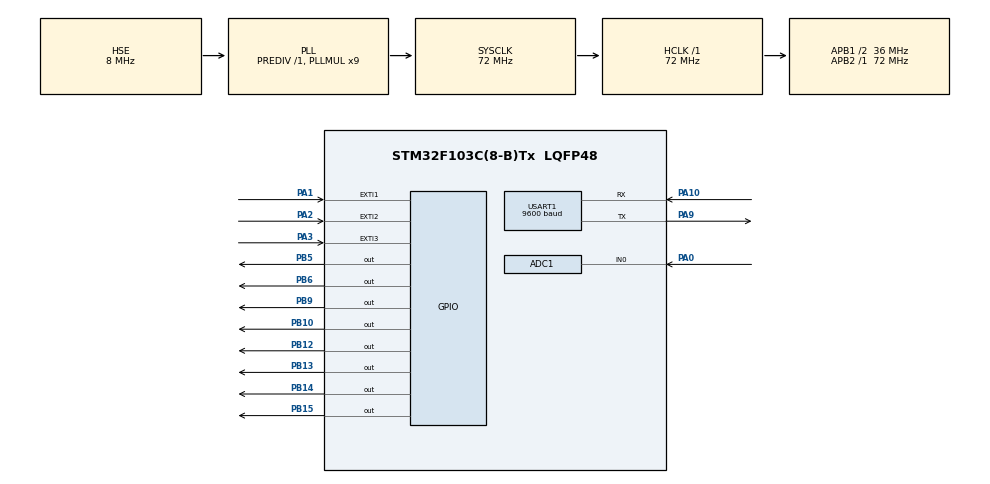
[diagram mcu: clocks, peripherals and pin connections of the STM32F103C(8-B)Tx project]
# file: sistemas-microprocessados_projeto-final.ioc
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ADC1.Channel-0\#ChannelRegularConversion=ADC_CHANNEL_0
ADC1.NbrOfConversionFlag=1
ADC1.Rank-0\#ChannelRegularConversion=1
ADC1.SamplingTime-0\#ChannelRegularConversion=ADC_SAMPLETIME_1CYCLE_5
ADC1.master=1
Mcu.Family=STM32F1
Mcu.Name=STM32F103C(8-B)Tx
Mcu.Package=LQFP48
NVIC.ADC1_2_IRQn=true\:0\:0\:false\:false\:true\:true\:true
NVIC.EXTI1_IRQn=true\:0\:0\:false\:true\:true\:1\:true\:true
NVIC.EXTI2_IRQn=true\:0\:0\:false\:true\:true\:2\:true\:true
NVIC.EXTI3_IRQn=true\:0\:0\:false\:true\:true\:3\:true\:true
NVIC.PriorityGroup=NVIC_PRIORITYGROUP_4
NVIC.USART1_IRQn=true\:0\:0\:false\:true\:true\:4\:true\:true
PA0-WKUP.Signal=ADCx_IN0
PA1.GPIO_ModeDefaultEXTI=GPIO_MODE_IT_FALLING
PA1.Signal=GPXTI1
PA10.Mode=Asynchronous
PA10.Signal=USART1_RX
PA13.Mode=Serial_Wire
PA13.Signal=SYS_JTMS-SWDIO
PA14.Mode=Serial_Wire
PA14.Signal=SYS_JTCK-SWCLK
PA2.GPIO_ModeDefaultEXTI=GPIO_MODE_IT_FALLING
PA2.Signal=GPXTI2
PA3.GPIO_ModeDefaultEXTI=GPIO_MODE_IT_FALLING
PA3.Signal=GPXTI3
PA9.Mode=Asynchronous
PA9.Signal=USART1_TX
PB10.Signal=GPIO_Output
PB12.Signal=GPIO_Output
PB13.Signal=GPIO_Output
PB14.Signal=GPIO_Output
PB15.Signal=GPIO_Output
PB5.Signal=GPIO_Output
PB6.Signal=GPIO_Output
PB9.Signal=GPIO_Output
PD0-OSC_IN.Mode=HSE-External-Oscillator
PD0-OSC_IN.Signal=RCC_OSC_IN
PD1-OSC_OUT.Mode=HSE-External-Oscillator
PD1-OSC_OUT.Signal=RCC_OSC_OUT
ProjectManager.HeapSize=0x200
ProjectManager.StackSize=0x400
ProjectManager.TargetToolchain=STM32CubeIDE
RCC.ADCPresc=RCC_ADCPCLK2_DIV6
RCC.AHBFreq_Value=72000000
RCC.APB1CLKDivider=RCC_HCLK_DIV2
RCC.APB1Freq_Value=36000000
RCC.APB1TimFreq_Value=72000000
RCC.APB2Freq_Value=72000000
RCC.APB2TimFreq_Value=72000000
RCC.HCLKFreq_Value=72000000
RCC.PLLMUL=RCC_PLL_MUL9
RCC.PLLSourceVirtual=RCC_PLLSOURCE_HSE
RCC.SYSCLKFreq_VALUE=72000000
RCC.SYSCLKSource=RCC_SYSCLKSOURCE_PLLCLK
RCC.USBFreq_Value=72000000
SH.ADCx_IN0.0=ADC1_IN0,IN0
USART1.BaudRate=9600
USART1.VirtualMode=VM_ASYNC
board=custom

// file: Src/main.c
/* USER CODE BEGIN Header */
/**
 ******************************************************************************
 * @file           : main.c
 * @brief          : Main program body
 ******************************************************************************
 * @attention
 *
 * <h2><center>&copy; Copyright (c) 2019 STMicroelectronics.
 * All rights reserved.</center></h2>
 *
 * This software component is licensed by ST under BSD 3-Clause license,
 * the "License"; You may not use this file except in compliance with the
 * License. You may obtain a copy of the License at:
 *                        opensource.org/licenses/BSD-3-Clause
 *
 ******************************************************************************
 */
/* USER CODE END Header */

#include "main.h"
#include "stm32f1xx_hal.h"

/* USER CODE BEGIN Includes */
#include <stdbool.h>
#include "mx_prat_05_funcoes.h" // header do arqv das funcoes do programa
/* USER CODE END Includes */

/* USER CODE BEGIN PD */
#define DT_D 100					// delay dos leds
#define reset_time 3000				// tempo necessario para resetar o programa ao apertar PA3
#define min_delay 50				// tempo de delay para incrementar os minutos
#define tempoRespostaMAX 1000 // tempo maximo de resposta da UART
#define tempoRequiscoes 200 // tempo entre requisicoes da UART
#define requisicoesCheckSumIncorretoMAX 3 // numero maximo de requisoces incorretas que chegam
#define DT_VARRE 5 // inc varredura a cada 5 ms (~200 Hz)
#define DIGITO_APAGADO 0x10 // kte valor p/ apagar um dígito no display
#define DT_UPDATE 200 // tempo delay para update do valor
#define DT_ERRO 1000 // tempo que o programa vai ficar em erro ate tentar uma nova requisicao
/* USER CODE END PD */

ADC_HandleTypeDef hadc1;

UART_HandleTypeDef huart1;

/* USER CODE BEGIN PV */
volatile uint8_t buffOutReq[4] = { 0, 0, 0, 0 }; // buffer de saida de requisicao (para nao conflitar)
volatile uint8_t buffOutDado[4] = { 0, 0, 0, 0 }; // buffer de saida de dados
volatile uint8_t buffIn[4] = { 0, 0, 0, 0 }; // buffer de entrada
volatile uint16_t valorConversorRecebido; // valor recebido pela UART
volatile uint16_t val_adc = 0; // valor do conversor
uint8_t r = (uint8_t) 0x72; // byte de requisicao
volatile uint8_t requisicaoAtual = 1; // numero atual da requisicao UART
volatile bool respostaRecebida = false; // flag para indicar que recebeu resposta UART
volatile bool requisicaoEnviada = false; // flag para indicar que enviou requisicao UART
volatile bool requisicaoTimeOutEnviada = false; // flgar para indicar que enviou a ultima requisicao antes do TIMEOUT UART

// variaveis que serao mostradas no display
volatile int mil = 0, // ini decimo
		cen = 0, // ini unidade
		dez = 0, // ini dezena
		uni = 0; // ini unidade

// enum de status da UART
volatile static enum StatusUart {
	TransmitirReq, Idle, ErroCheckSum, ErroConexao
} statusUart = Idle;

// enum de status do programa
volatile static enum StatusPrograma {
	Relogio,
	EditarRelogioHora,
	EditarRelogioMinuto,
	Conversor,
	ConexaoUART,
	Reset
} statusPrograma = Relogio;

/* USER CODE END PV */

void SystemClock_Config(void);
static void MX_GPIO_Init(void);
static void MX_ADC1_Init(void);
static void MX_USART1_UART_Init(void);
static void MX_NVIC_Init(void);
/* USER CODE BEGIN PFP */

void HAL_UART_TxCpltCallback(UART_HandleTypeDef *huart);
void HAL_UART_RxCpltCallback(UART_HandleTypeDef *huart);
void TransmitirRequisicaoUART(void); // metodo para transmitir uma requisicao pela UART
void TransmitirDadosUART(void); // metodo para transmitir dados pela UART

// funcoes do arquivo stm32f1xx_it.c
int get_modo_oper_programa(void); // busca modo de operacao do programa
void set_modo_oper_conversor(int); // seta modo_oper (no stm32f1xx_it.c)
int get_modo_oper_conversor(void); // obtém modo_oper (stm32f1xx_it.c)
void reset_modo_oper_programa(void); // reset de modo de operacao do programa
int get_modo_edicao_hora(void); // busca modo de edicao da hora
void reset_modo_edicao_hora(void); // reset do modo de dedicao da hora

// funcoes do arquivo prat_05_funcoes.c
void reset_pin_GPIOs(void); // reset pinos da SPI
void serializar(int ser_data); // prot fn serializa dados p/ 74HC595
int16_t conv_7_seg(int NumHex); // prot fn conv valor --> 7-seg
void ConverteValorDoConversor(uint16_t val);

/* USER CODE END PFP */

int main(void) {
	/* USER CODE BEGIN 1 */

	int16_t val7seg = 0x00FF, // inicia 7-seg com 0xF (tudo apagado)
			serial_data = 0x01FF; // dado a serializar (dig | val7seg)
	uint32_t tIN_varre = 0; // registra tempo última varredura
	/* USER CODE END 1 */

	/* MCU Configuration--------------------------------------------------------*/

	/* Reset of all peripherals, Initializes the Flash interface and the Systick. */
	HAL_Init();

	/* Configure the system clock */
	SystemClock_Config();

	/* Initialize all configured peripherals */
	MX_GPIO_Init();
	MX_ADC1_Init();
	MX_USART1_UART_Init();

	/* Initialize interrupts */
	MX_NVIC_Init();
	/* USER CODE BEGIN 2 */
	// inicializa a SPI (pinos 6,9,10 da GPIOB)
	reset_pin_GPIOs();
	// var de estado que controla a varredura (qual display é mostrado)
	static enum {
		DIG_UNI, DIG_DEC, DIG_CENS, DIG_MILS
	} sttVARRE = DIG_UNI;

	HAL_UART_Receive_IT(&huart1, buffIn, sizeof(buffIn)); // inicializa buffer de entrada

	HAL_GPIO_WritePin(GPIOB,
	GPIO_PIN_15 | GPIO_PIN_14 | GPIO_PIN_13 | GPIO_PIN_12 | GPIO_PIN_5,
			GPIO_PIN_SET); // desliga os leds

	static enum {
		INI_D3, LIG_D3, DSLG_D3
	} sttD3 = INI_D3; // var estados de D3
	static enum {
		INI_D4, LIG_D4, DSLG_D4
	} sttD4 = INI_D4; // var estados de D4
	static enum {
		INI_D, LIG_D, DSLG_D
	} sttD = INI_D; // var estados de D
	static enum {
		UNI, DEZ
	} sttPonto = DEZ; // var ponto display

	// para controlar vars tempos de entrada na rotina ON/OFF de cada LED
	uint32_t tin_D3 = 0, tin_D4 = 0, tin_D = 0;

	// para controlar as vezes que uma requisicao sera feita
	uint32_t tin_UART = 0, timeOut_UART = 0, tin_erro_UART = 0;

	// variaveis para contar hora e minuto
	uint8_t MINuni = 0, MINdec = 0, HRuni = 0, HRdec = 0;

	// variavel para controlar quandos sera incrementado o minuto
	uint32_t tin_min = 0;

	// variavel para controlar quando sera feito o reset do sistema
	uint32_t reset_A3 = 0;

	// variavel para verificar quando o borao PA3 esta sendo pressionado
	bool PA3_pressionado = false;

	// variavel para controlar quando sera feita a conversao AD
	uint32_t tin_conversor = 0;

	// variavel para armazenar o modo de operacao do programa
	int modoDeOperacao = 0;

	/* USER CODE END 2 */

	/* Infinite loop */
	while (1) {

		/* USER CODE BEGIN 3 */

		// Botao PA 3 -----------------------------------------------------------
		// atualiza status do programa de acordo com o modo de operacao EditarRelogio, Conversor, ConexaoUART, Reset
		// Verifica se o botao PA3 esta apertado por 3 segundos
		if (HAL_GPIO_ReadPin(GPIOA, GPIO_PIN_3) == 0) {
			if (PA3_pressionado == false) { // se PA3 pressionado, salva o tick atual
				reset_A3 = HAL_GetTick();
				PA3_pressionado = true;
			}
			if ((HAL_GetTick() - reset_A3) >= reset_time) { // se passou 3 segundos depois do tick inicial
				modoDeOperacao = 5; // muda modo de operacao para RESET
			}
		} else { // se PA3 nao esta pressionado
			PA3_pressionado = false;
			modoDeOperacao = get_modo_oper_programa(); // busca modo de operacao
		}

		// switch para definir o modo de operacao do programa
		switch (modoDeOperacao) {
		case 0:
			statusPrograma = Relogio;
			break;
		case 1:
			statusPrograma = EditarRelogioHora;
			break;
		case 2:
			statusPrograma = EditarRelogioMinuto;
			break;
		case 3:
			statusPrograma = Conversor;
			break;
		case 4:
			statusPrograma = ConexaoUART;
			break;
		case 5:
			statusPrograma = Reset;
			break;
		}

		// --------------------------------------------------------------------------
		// Contador do relogio ------------------------------------------------
		// apenas conta quando nao esta no modo de edicao
		if ((HAL_GetTick() - tin_min) >= min_delay
				&& statusPrograma != EditarRelogioHora
				&& statusPrograma != EditarRelogioMinuto) { //relógio incrementa minutos naturalmente
			tin_min = HAL_GetTick();

			if (MINuni == 9) {
				MINuni = 0;
				if (MINdec == 5) {
					MINdec = 0;
					if (HRuni == 3 && HRdec == 2) {
						HRuni = 0;
						HRdec = 0;
					} else if (HRuni == 9) {
						HRuni = 0;
						HRdec++;
					} else
						HRuni++;

				} else
					MINdec++;
			} else
				MINuni++;
		}

		// --------------------------------------------------------------------------
		// Mostra Relogio no Display---------------------------------------------
		if (statusPrograma == Relogio) {
			// atribui as variaveis que serao mostradas no display
			uni = HRdec;
			dez = HRuni;
			cen = MINdec;
			mil = MINuni;
			sttPonto = DEZ; // coloca o ponto na segunda casa do display
			reset_modo_edicao_hora(); // coloca modo de dedicao de hora para 0
			HAL_GPIO_WritePin(GPIOB,
			GPIO_PIN_12 | GPIO_PIN_13 | GPIO_PIN_14 | GPIO_PIN_15,
					GPIO_PIN_SET); // desl LED
		}
// --------------------------------------------------------------------------
// Editar Relogio--------------------------------------------------------
		if (statusPrograma == EditarRelogioHora) {
			HAL_GPIO_WritePin(GPIOB,
			GPIO_PIN_12 | GPIO_PIN_14 | GPIO_PIN_15, GPIO_PIN_SET); // desl o LED
			HAL_GPIO_WritePin(GPIOB, GPIO_PIN_13, GPIO_PIN_RESET); // liga o LED 3

			// atribui as variaveis que serao mostradas no display
			uni = HRdec;
			dez = HRuni;
			cen = MINdec;
			mil = MINuni;
			sttPonto = DEZ; // coloca o ponto na segunda casa do display

			if (get_modo_edicao_hora() == 1) {		// PA1 pressionado
				if (HRuni == 3 && HRdec == 2) {	// caso esteja em 23h mudar para 00h
					HRuni = 0;
					HRdec = 0;
				} else if (HRuni == 9) {
					HRuni = 0;
					HRdec++;
				} else
					HRuni++; 	// soma as horas
			}
			reset_modo_edicao_hora(); // volta o modo de edicao hora para 0 (este modo indica quando sera incrementado a unidade)
		}

		// mesma logica que editar a hora
		if (statusPrograma == EditarRelogioMinuto) {
			HAL_GPIO_WritePin(GPIOB,
			GPIO_PIN_13 | GPIO_PIN_14 | GPIO_PIN_15, GPIO_PIN_SET); // desl o LED
			HAL_GPIO_WritePin(GPIOB, GPIO_PIN_12, GPIO_PIN_RESET); // liga o LED 4

			uni = HRdec;
			dez = HRuni;
			cen = MINdec;
			mil = MINuni;
			sttPonto = DEZ;

			if (get_modo_edicao_hora() == 1) {		// PA1 pressionado
				if (MINuni == 9) {
					MINuni = 0;
					if (MINdec == 5)
						MINdec = 0;
					else
						MINdec++;
				} else
					MINuni++;	// soma os minutos
			}
			reset_modo_edicao_hora();
		}
// --------------------------------------------------------------------------
// Conversor AD----------------------------------------------------------
		// adaptado do programa feito em aula
		if (statusPrograma == Conversor) {
			sttPonto = UNI;
			// converte para mVs (decimal, p/ 7-seg)
			if ((HAL_GetTick() - tin_conversor) > DT_UPDATE) {
				tin_conversor = HAL_GetTick();
				ConverteValorDoConversor(val_adc);
			}
			HAL_GPIO_WritePin(GPIOB,
			GPIO_PIN_12 | GPIO_PIN_13 | GPIO_PIN_14, GPIO_PIN_SET); // desl o LED
			HAL_GPIO_WritePin(GPIOB, GPIO_PIN_15, GPIO_PIN_RESET); // liga o LED 1
		}

		// faz uma conversão ADC
		if ((HAL_GetTick() - tin_conversor) > DT_UPDATE) {
			// dispara por software uma conversão ADC
			HAL_ADC_Start_IT(&hadc1); // dispara ADC p/ conversão por interrupção
		}
		// --------------------------------------------------------------------------

		// Atualiza display com o valor de uni, dez, cen e mil -----------------------
		// nao depende do modo de operacao do programa
		if ((HAL_GetTick() - tIN_varre) > DT_VARRE) // se ++0,1s atualiza o display
		{
			tIN_varre = HAL_GetTick(); // salva tIN p/ prox tempo varredura
			switch (sttVARRE) // teste e escolha de qual DIG vai varrer
			{
			case DIG_MILS: {
				sttVARRE = DIG_CENS; // ajusta p/ prox digito
				serial_data = 0x0008; // display #1
				val7seg = conv_7_seg(mil);
				break;
			}
			case DIG_CENS: {
				sttVARRE = DIG_DEC; // ajusta p/ prox digito
				serial_data = 0x00004; // display #2
				if (sttPonto == UNI) { // caso o ponto seja na unidade (modo conversor)
					if (cen > 0 || dez > 0 || uni > 0) {
						val7seg = conv_7_seg(cen);
					} else {
						val7seg = conv_7_seg(DIGITO_APAGADO);
					}
				} else { // caso o ponto seja na dezena (modo relogio)
					val7seg = conv_7_seg(cen);
				}

				break;
			}
			case DIG_DEC: {
				sttVARRE = DIG_UNI; // ajusta p/ prox digito
				serial_data = 0x0002; // display #3
				if (sttPonto == UNI) {
					if (dez > 0 || uni > 0) {
						val7seg = conv_7_seg(dez);
						val7seg &= 0xFFFF; // desliga ponto decimal
					} else {
						val7seg = conv_7_seg(DIGITO_APAGADO);
					}
				} else {
					val7seg = conv_7_seg(dez);
					val7seg &= 0x7FFF; // liga o ponto decimal
				}

				break;
			}
			case DIG_UNI: {
				sttVARRE = DIG_MILS; // ajusta p/ prox digito
				serial_data = 0x0001; // display #3
				if (sttPonto == UNI) {
					if (uni > 0) {
						val7seg = conv_7_seg(uni);
						val7seg &= 0x7FFF; // liga o ponto decimal

					} else {
						val7seg = conv_7_seg(DIGITO_APAGADO);
					}
				} else {
					val7seg = conv_7_seg(uni);
					val7seg &= 0xFFFF; // desliga ponto decimal
				}

				break;
			}
			} // fim case
			tIN_varre = HAL_GetTick(); // tmp atual em que fez essa varredura
			serial_data |= val7seg; // OR com val7seg = dado a serializar
			serializar(serial_data); // serializa dado p/74HC595 (shift reg)
		} // -- fim da tarefa #3 - varredura do display

		/// Conexao UART -------------------------------------------------------
		if (statusPrograma == ConexaoUART) {
			switch (statusUart) {
			case Idle: // incializa variaveis para iniciar a comunicacao
				tin_UART = HAL_GetTick();
				timeOut_UART = HAL_GetTick();
				respostaRecebida = false;
				requisicaoEnviada = false;
				requisicaoTimeOutEnviada = false;
				HAL_GPIO_WritePin(GPIOB,
						GPIO_PIN_12 | GPIO_PIN_13 | GPIO_PIN_14 | GPIO_PIN_15
								| GPIO_PIN_5, GPIO_PIN_SET);
				sttD3 = INI_D3;
				sttD4 = INI_D4;
				statusUart = TransmitirReq;
				HAL_UART_Receive_IT(&huart1, buffIn, sizeof(buffIn)); // inicializa buffer de entrada
				break;
			case TransmitirReq: // se o status for de enviar uma requisicao

				if ((HAL_GetTick() - tin_UART) > tempoRequiscoes
						&& requisicaoEnviada == false) { // se for tempo de fazer uma requisicao
					tin_UART = HAL_GetTick();
					timeOut_UART = HAL_GetTick();
					requisicaoEnviada = true;
					TransmitirRequisicaoUART();
				}

				// se deu 500 ms, envia mais uma requisicao
				if ((HAL_GetTick() - timeOut_UART) > tempoRespostaMAX
						&& requisicaoTimeOutEnviada == false) {
					requisicaoTimeOutEnviada = true;
					TransmitirRequisicaoUART();
				}

				// se depois da requisicao de 500ms, ainda nao recebi resposta depois de 500ms
				// erro de conexao
				if ((HAL_GetTick() - timeOut_UART) > 2 * tempoRespostaMAX) {
					statusUart = ErroConexao;
					HAL_GPIO_WritePin(GPIOB,
					GPIO_PIN_12 | GPIO_PIN_13 | GPIO_PIN_14 | GPIO_PIN_15,
							GPIO_PIN_SET); // desl o LED
				}

				// recebi resposta, reseta variaveis de requisicao
				if (respostaRecebida == true) {
					requisicaoTimeOutEnviada = false;
					requisicaoEnviada = false;
					respostaRecebida = false;
					HAL_GPIO_WritePin(GPIOB,
					GPIO_PIN_12 | GPIO_PIN_13 | GPIO_PIN_15, GPIO_PIN_SET); // desl o LED
					HAL_GPIO_WritePin(GPIOB, GPIO_PIN_14, GPIO_PIN_RESET); // desl o LED
				}
				if (requisicaoEnviada == true) {
					switch (sttD) {
					case INI_D:              // vai iniciar a máquina de estado
						tin_D = HAL_GetTick(); // tempo inicial que iniciou a tarefa
						sttD = LIG_D;            // prox estado da máquina
						HAL_GPIO_WritePin(GPIOB,
						GPIO_PIN_12 | GPIO_PIN_13 | GPIO_PIN_14 | GPIO_PIN_15,
								GPIO_PIN_SET); // desl o LED
						break;
					case LIG_D:                 // estado para ligar o LED
						if ((HAL_GetTick() - tin_D) > DT_D) {
							tin_D = HAL_GetTick(); // guarda tempo p/ prox mudança estado
							sttD = DSLG_D;    // muda o prox estado da máquina
							HAL_GPIO_WritePin(GPIOB,
									GPIO_PIN_12 | GPIO_PIN_13 | GPIO_PIN_14
											| GPIO_PIN_15, GPIO_PIN_RESET); // ligaLED
						}
						break;
					case DSLG_D:                // estado para desligar o LED
						if ((HAL_GetTick() - tin_D) > DT_D) {
							tin_D = HAL_GetTick(); // guarda tempo p/ prox mudança estado
							sttD = LIG_D;     // muda o prox estado da máquina
							HAL_GPIO_WritePin(GPIOB,
									GPIO_PIN_12 | GPIO_PIN_13 | GPIO_PIN_14
											| GPIO_PIN_15, GPIO_PIN_SET); // desl LED
						}
						break;
					};
				}

				break;
			case ErroCheckSum: // se o status for de erro de checksum pisca LED 3
				uni = 0;
				dez = 0;
				cen = 2;
				mil = 4;
				switch (sttD3) {
				case INI_D3: // vai iniciar a máquina de estado
					tin_D3 = HAL_GetTick(); // tempo inicial que iniciou a tarefa
					tin_erro_UART = HAL_GetTick();
					sttD3 = LIG_D3; // prox estado da máquina
					HAL_GPIO_WritePin(GPIOB, GPIO_PIN_13 | GPIO_PIN_5,
							GPIO_PIN_SET); // desl o LED
					break;
				case LIG_D3: // estado para ligar o LED
					if ((HAL_GetTick() - tin_D3) > DT_D) // se for hora de ligar o led
					{
						tin_D3 = HAL_GetTick(); // guarda tempo p/ prox mudança estado
						sttD3 = DSLG_D3; // muda o prox estado da máquina
						HAL_GPIO_WritePin(GPIOB, GPIO_PIN_13 | GPIO_PIN_5,
								GPIO_PIN_RESET); // ligaLED
					}
					break;
				case DSLG_D3: // estado para desligar o LED
					if ((HAL_GetTick() - tin_D3) > DT_D) // se for hora de desligar o led
					{
						tin_D3 = HAL_GetTick(); // guarda tempo p/ prox mudança estado
						sttD3 = LIG_D3; // muda o prox estado da máquina
						HAL_GPIO_WritePin(GPIOB, GPIO_PIN_13 | GPIO_PIN_5,
								GPIO_PIN_SET); // desl LED
					}
					break;
				}
				if ((HAL_GetTick() - tin_erro_UART) > DT_ERRO) // se passou tempo de erro
				{
					statusUart = Idle;
				}

				break;
			case ErroConexao: // se o status for de erro de conexao pisca LED 4
				uni = 0;
				dez = 6;
				cen = 6;
				mil = 6;

				switch (sttD4) {
				case INI_D4: // vai iniciar a máquina de estado
					tin_D4 = HAL_GetTick(); // tempo inicial que iniciou a tarefa
					tin_erro_UART = HAL_GetTick();
					sttD4 = LIG_D4; // prox estado da máquina
					HAL_GPIO_WritePin(GPIOB, GPIO_PIN_12 | GPIO_PIN_5,
							GPIO_PIN_SET); // desl o LED
					break;
				case LIG_D4: // estado para ligar o LED
					if ((HAL_GetTick() - tin_D4) > DT_D) // se for hora de ligar o led
					{
						tin_D4 = HAL_GetTick(); // guarda tempo p/ prox mudança estado
						sttD4 = DSLG_D4; // muda o prox estado da máquina
						HAL_GPIO_WritePin(GPIOB, GPIO_PIN_12 | GPIO_PIN_5,
								GPIO_PIN_RESET); // ligaLED
					}
					break;
				case DSLG_D4: // estado para desligar o LED
					if ((HAL_GetTick() - tin_D4) > DT_D) // se for hora de desligar o led
					{
						tin_D4 = HAL_GetTick(); // guarda tempo p/ prox mudança estado
						sttD4 = LIG_D4; // muda o prox estado da máquina
						HAL_GPIO_WritePin(GPIOB, GPIO_PIN_12 | GPIO_PIN_5,
								GPIO_PIN_SET); // desl LED
					}
					break;
				}
				if ((HAL_GetTick() - tin_erro_UART) > DT_ERRO) // se passou tempo de erro
				{
					statusUart = Idle;
				}
			}
		} else {
			// se nao esta no modo de conexao, volta ao status idle e desliga o buzzer
			statusUart = Idle;
			HAL_GPIO_WritePin(GPIOB, GPIO_PIN_5, GPIO_PIN_SET); // desl buzzer
		}

		// Reset ----------------------------------------------------------------
		if (statusPrograma == Reset) {
			statusUart = Idle;
			respostaRecebida = false;
			requisicaoEnviada = false;
			requisicaoTimeOutEnviada = false;
			HRuni = 0, HRdec = 0, MINuni = 0, MINdec = 0;
			reset_modo_oper_programa();

			HAL_GPIO_WritePin(GPIOB,
			GPIO_PIN_15 | GPIO_PIN_14 | GPIO_PIN_13 | GPIO_PIN_12 | GPIO_PIN_5,
					GPIO_PIN_SET); // desliga os leds

			HAL_UART_Receive_IT(&huart1, buffIn, sizeof(buffIn)); // inicializa buffer de entrada
		}

	}
	/* USER CODE END 3 */
}

void SystemClock_Config(void) {
	RCC_OscInitTypeDef RCC_OscInitStruct = { 0 };
	RCC_ClkInitTypeDef RCC_ClkInitStruct = { 0 };
	RCC_PeriphCLKInitTypeDef PeriphClkInit = { 0 };

	/** Initializes the CPU, AHB and APB busses clocks
	 */
	RCC_OscInitStruct.OscillatorType = RCC_OSCILLATORTYPE_HSE;
	RCC_OscInitStruct.HSEState = RCC_HSE_ON;
	RCC_OscInitStruct.HSEPredivValue = RCC_HSE_PREDIV_DIV1;
	RCC_OscInitStruct.HSIState = RCC_HSI_ON;
	RCC_OscInitStruct.PLL.PLLState = RCC_PLL_ON;
	RCC_OscInitStruct.PLL.PLLSource = RCC_PLLSOURCE_HSE;
	RCC_OscInitStruct.PLL.PLLMUL = RCC_PLL_MUL9;
	if (HAL_RCC_OscConfig(&RCC_OscInitStruct) != HAL_OK) {
		Error_Handler();
	}
	/** Initializes the CPU, AHB and APB busses clocks
	 */
	RCC_ClkInitStruct.ClockType = RCC_CLOCKTYPE_HCLK | RCC_CLOCKTYPE_SYSCLK
			| RCC_CLOCKTYPE_PCLK1 | RCC_CLOCKTYPE_PCLK2;
	RCC_ClkInitStruct.SYSCLKSource = RCC_SYSCLKSOURCE_PLLCLK;
	RCC_ClkInitStruct.AHBCLKDivider = RCC_SYSCLK_DIV1;
	RCC_ClkInitStruct.APB1CLKDivider = RCC_HCLK_DIV2;
	RCC_ClkInitStruct.APB2CLKDivider = RCC_HCLK_DIV1;

	if (HAL_RCC_ClockConfig(&RCC_ClkInitStruct, FLASH_LATENCY_2) != HAL_OK) {
		Error_Handler();
	}
	PeriphClkInit.PeriphClockSelection = RCC_PERIPHCLK_ADC;
	PeriphClkInit.AdcClockSelection = RCC_ADCPCLK2_DIV6;
	if (HAL_RCCEx_PeriphCLKConfig(&PeriphClkInit) != HAL_OK) {
		Error_Handler();
	}
}

/**
 * @brief NVIC Configuration.
 * @retval None
 */
static void MX_NVIC_Init(void) {
	/* EXTI1_IRQn interrupt configuration */
	HAL_NVIC_SetPriority(EXTI1_IRQn, 0, 0);
	HAL_NVIC_EnableIRQ(EXTI1_IRQn);
	/* EXTI2_IRQn interrupt configuration */
	HAL_NVIC_SetPriority(EXTI2_IRQn, 0, 0);
	HAL_NVIC_EnableIRQ(EXTI2_IRQn);
	/* EXTI3_IRQn interrupt configuration */
	HAL_NVIC_SetPriority(EXTI3_IRQn, 0, 0);
	HAL_NVIC_EnableIRQ(EXTI3_IRQn);
	/* USART1_IRQn interrupt configuration */
	HAL_NVIC_SetPriority(USART1_IRQn, 0, 0);
	HAL_NVIC_EnableIRQ(USART1_IRQn);
}

static void MX_ADC1_Init(void) {

	ADC_ChannelConfTypeDef sConfig = { 0 };

	/** Common config
	 */
	hadc1.Instance = ADC1;
	hadc1.Init.ScanConvMode = ADC_SCAN_DISABLE;
	hadc1.Init.ContinuousConvMode = DISABLE;
	hadc1.Init.DiscontinuousConvMode = DISABLE;
	hadc1.Init.ExternalTrigConv = ADC_SOFTWARE_START;
	hadc1.Init.DataAlign = ADC_DATAALIGN_RIGHT;
	hadc1.Init.NbrOfConversion = 1;
	if (HAL_ADC_Init(&hadc1) != HAL_OK) {
		Error_Handler();
	}
	/** Configure Regular Channel
	 */
	sConfig.Channel = ADC_CHANNEL_0;
	sConfig.Rank = ADC_REGULAR_RANK_1;
	sConfig.SamplingTime = ADC_SAMPLETIME_1CYCLE_5;
	if (HAL_ADC_ConfigChannel(&hadc1, &sConfig) != HAL_OK) {
		Error_Handler();
	}

}

static void MX_USART1_UART_Init(void) {

	huart1.Instance = USART1;
	huart1.Init.BaudRate = 38400;
	huart1.Init.WordLength = UART_WORDLENGTH_8B;
	huart1.Init.StopBits = UART_STOPBITS_1;
	huart1.Init.Parity = UART_PARITY_NONE;
	huart1.Init.Mode = UART_MODE_TX_RX;
	huart1.Init.HwFlowCtl = UART_HWCONTROL_NONE;
	huart1.Init.OverSampling = UART_OVERSAMPLING_16;
	if (HAL_UART_Init(&huart1) != HAL_OK) {
		Error_Handler();
	}

}

static void MX_GPIO_Init(void) {
	GPIO_InitTypeDef GPIO_InitStruct = { 0 };

	/* GPIO Ports Clock Enable */
	__HAL_RCC_GPIOD_CLK_ENABLE()
	;
	__HAL_RCC_GPIOA_CLK_ENABLE()
	;
	__HAL_RCC_GPIOB_CLK_ENABLE()
	;

	/*Configure GPIO pin Output Level */
	HAL_GPIO_WritePin(GPIOB,
			GPIO_PIN_10 | GPIO_PIN_12 | GPIO_PIN_13 | GPIO_PIN_14 | GPIO_PIN_15
					| GPIO_PIN_5 | GPIO_PIN_6 | GPIO_PIN_9, GPIO_PIN_RESET);

	/*Configure GPIO pins : PA1 PA2 PA3 */
	GPIO_InitStruct.Pin = GPIO_PIN_1 | GPIO_PIN_2 | GPIO_PIN_3;
	GPIO_InitStruct.Mode = GPIO_MODE_IT_FALLING;
	GPIO_InitStruct.Pull = GPIO_NOPULL;
	HAL_GPIO_Init(GPIOA, &GPIO_InitStruct);

	/*Configure GPIO pins : PB10 PB12 PB13 PB14
	 PB15 PB5 PB6 PB9 */
	GPIO_InitStruct.Pin = GPIO_PIN_10 | GPIO_PIN_12 | GPIO_PIN_13 | GPIO_PIN_14
			| GPIO_PIN_15 | GPIO_PIN_5 | GPIO_PIN_6 | GPIO_PIN_9;
	GPIO_InitStruct.Mode = GPIO_MODE_OUTPUT_PP;
	GPIO_InitStruct.Pull = GPIO_NOPULL;
	GPIO_InitStruct.Speed = GPIO_SPEED_FREQ_LOW;
	HAL_GPIO_Init(GPIOB, &GPIO_InitStruct);

}

/* USER CODE BEGIN 4 */
// callback do envio de dados
void HAL_UART_TxCpltCallback(UART_HandleTypeDef *huart) {
	if (huart->Instance == USART1) {
	}
}

// callback do recebimento de dados
void HAL_UART_RxCpltCallback(UART_HandleTypeDef *huart) {
	if (huart->Instance == USART1) {

		if (buffIn[0] == r && buffIn[1] == r && buffIn[2] == r
				&& buffIn[3] == r) { // caso seja uma requisição de dados

			TransmitirDadosUART();

		} else { // senao eu estou recebendo um dado
			uint16_t checkSumCalculado = 0x0000 | ((uint16_t) buffIn[0] + buffIn[1]); // faz a soma da parte alta com a baixa
			uint16_t checkSumRecebido = 0x0000 | ((uint16_t) buffIn[2] << 8) | buffIn[3]; // monta o checksum recebido

			respostaRecebida = true; // recebi uma resposta

			if (checkSumCalculado == checkSumRecebido) { // se o checksum for correto
				// salva valor recebido em uma variavel de 16 bits
				valorConversorRecebido = ((uint16_t) buffIn[0] << 8)
						| buffIn[1];
				ConverteValorDoConversor(valorConversorRecebido);
				requisicaoAtual = 1; // reseta variavel de requisicao para 1

			} else { // se o valor recebido nao for o correto, envia outra requisicao
				requisicaoAtual++; // incremente numero da requisicao
				if (requisicaoAtual > requisicoesCheckSumIncorretoMAX) { // se ja foi enviado 3 requisicoes
					statusUart = ErroCheckSum; // atribui status de erro
					requisicaoAtual = 1;
				}
			}

		}

		HAL_UART_Receive_IT(&huart1, buffIn, sizeof(buffIn)); // inicializa buffer de entrada
	}
}

// transmite uma requisicao
void TransmitirRequisicaoUART(void) {
// prepara requisicao
	buffOutReq[0] = r;
	buffOutReq[1] = r;
	buffOutReq[2] = r;
	buffOutReq[3] = r;

	HAL_UART_Transmit_IT(&huart1, buffOutReq, sizeof(buffOutReq)); // envia requisicao
}

// transmite dados
void TransmitirDadosUART(void) {
	buffOutDado[1] = (uint8_t) 0xFF & val_adc;
	buffOutDado[0] = (uint8_t) 0xFF & (val_adc >> 8);
	uint16_t checkSum = (uint16_t) buffOutDado[0] + buffOutDado[1];

	buffOutDado[3] = (uint8_t) 0xFF & checkSum;
	buffOutDado[2] = (uint8_t) 0xFF & (checkSum >> 8);

	HAL_UART_Transmit_IT(&huart1, buffOutDado, sizeof(buffOutDado)); // envia requisicao
}

// converte o valor do conversor para milivolts
void ConverteValorDoConversor(uint16_t val) {
// converter o valor em decimais p/ display
	uint32_t miliVolt = val * 3300 / 4095;
	uni = miliVolt / 1000;
	dez = (miliVolt - (uni * 1000)) / 100;
	cen = (miliVolt - (uni * 1000) - (dez * 100)) / 10;
	mil = miliVolt - (uni * 1000) - (dez * 100) - (cen * 10);
}

// fn que atende ao callback da ISR do conversor ADC1
void HAL_ADC_ConvCpltCallback(ADC_HandleTypeDef* hadc) {
	if (hadc->Instance == ADC1) {
		val_adc = HAL_ADC_GetValue(&hadc1); // capta valor adc
	}
}
/* USER CODE END 4 */

void Error_Handler(void) {
}

/************************ (C) COPYRIGHT STMicroelectronics *****END OF FILE****/
